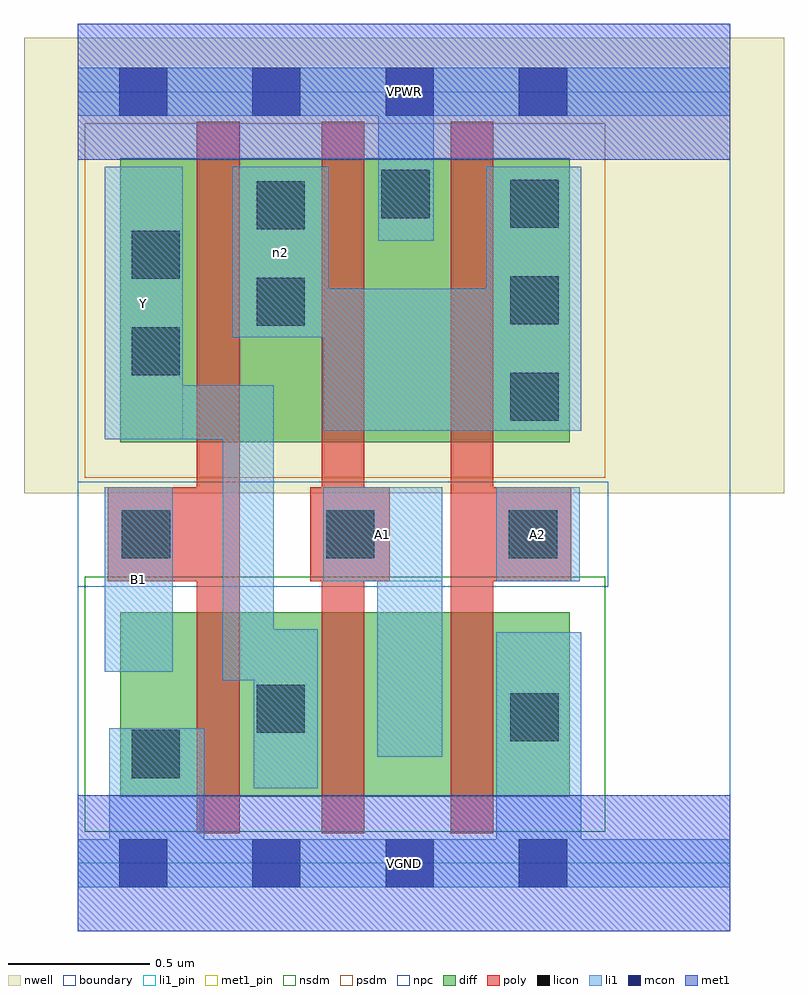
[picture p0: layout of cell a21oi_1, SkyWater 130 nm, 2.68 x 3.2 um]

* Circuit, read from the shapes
.subckt a21oi_1 A1 A2 B1 VGND VPWR Y n2
XM1 Y B1 VGND VSUBS sky130_fd_pr__nfet_01v8 w=0.65 l=0.15
XM2 n1 A1 Y VSUBS sky130_fd_pr__nfet_01v8 w=0.65 l=0.15
XM3 VGND A2 n1 VSUBS sky130_fd_pr__nfet_01v8 w=0.65 l=0.15
XM4 n2 B1 Y n3 sky130_fd_pr__pfet_01v8 w=1 l=0.15
XM5 VPWR A1 n2 n3 sky130_fd_pr__pfet_01v8 w=1 l=0.15
XM6 n2 A2 VPWR n3 sky130_fd_pr__pfet_01v8 w=1 l=0.15
.ends

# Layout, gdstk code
import gdstk
lib = gdstk.Library(unit=1e-6, precision=1e-09)
def R(c, l, rs):  # rectangles x0, y0, x1, y1
    for r in rs: c.add(gdstk.rectangle(r[:2], r[2:], *l))
def A(c, l, x, y, w, h, nx, ny, dx, dy):  # array of equal rectangles
    R(c, l, [(x+i*dx, y+j*dy, x+i*dx+w, y+j*dy+h) for i in range(nx) for j in range(ny)])
nwell = (64, 20)
diff = (65, 20)
poly = (66, 20)
licon = (66, 44)
li1_pin = (67, 16)
li1 = (67, 20)
mcon = (67, 44)
met1_pin = (68, 16)
met1 = (68, 20)
nsdm = (93, 44)
psdm = (94, 20)
npc = (95, 20)
boundary = (235, 4)

a21oi_1 = lib.new_cell('a21oi_1')
R(a21oi_1, nwell, [(-0.19,1.305,2.49,2.91), (0,1.305,2.3,2.91)])
R(a21oi_1, diff, [(0.15,0.235,1.735,0.885), (0.15,1.485,1.735,2.485)])
R(a21oi_1, poly, [(0.42,0.105,0.57,2.615), (0.86,0.105,1.01,2.615), (1.315,0.105,1.465,2.615), (0.105,0.995,0.57,1.325), (0.82,0.995,1.1,1.325), (1.315,0.995,1.74,1.325)])
A(a21oi_1, licon, 1.525, 1.56, 0.17, 0.17, 1, 3, 0, 0.34)
R(a21oi_1, licon, [(0.19,0.3,0.36,0.47), (1.525,0.43,1.695,0.6), (0.63,0.46,0.8,0.63), (0.155,1.075,0.325,1.245), (0.875,1.075,1.045,1.245), (1.52,1.075,1.69,1.245), (0.19,1.72,0.36,1.89), (0.63,1.895,0.8,2.065), (0.19,2.06,0.36,2.23), (0.63,2.235,0.8,2.405), (1.07,2.275,1.24,2.445)])
R(a21oi_1, li1_pin, [(0.095,0.675,0.335,1.325), (0.865,0.995,1.285,1.325), (1.475,0.995,1.77,1.325), (0.095,1.495,0.37,2.455)])
R(a21oi_1, li1, [(0,-0.085,2.3,0.085), (0.11,-0.085,0.445,0.475), (1.475,-0.085,1.775,0.815), (0.62,0.265,0.845,0.825), (1.055,0.375,1.285,1.325), (0.51,0.645,0.69,1.685), (0.095,0.675,0.335,1.325), (0.865,0.995,1.285,1.325), (1.475,0.995,1.77,1.325), (0.095,1.495,0.37,2.455), (0.095,1.495,0.69,1.685), (0.865,1.525,1.775,2.025), (1.44,1.525,1.775,2.455), (0.545,1.855,0.885,2.455), (1.06,2.195,1.255,2.805), (0,2.635,2.3,2.805)])
A(a21oi_1, mcon, 0.145, -0.085, 0.17, 0.17, 4, 2, 0.47, 2.72)
R(a21oi_1, met1_pin, [(0,-0.24,2.3,0.24), (0,2.48,2.3,2.96)])
R(a21oi_1, met1, [(0,-0.24,2.3,0.24), (0,2.48,2.3,2.96)])
R(a21oi_1, nsdm, [(0.025,0.11,1.86,1.01)])
R(a21oi_1, psdm, [(0.025,1.36,1.86,2.61)])
R(a21oi_1, npc, [(0,0.975,1.87,1.345)])
R(a21oi_1, boundary, [(0,0,2.3,2.72)])
a21oi_1.add(gdstk.Label('A1', (1.075,1.16), layer=67, texttype=5))
a21oi_1.add(gdstk.Label('A2', (1.622,1.16), layer=67, texttype=5))
a21oi_1.add(gdstk.Label('B1', (0.215,1), layer=67, texttype=5))
a21oi_1.add(gdstk.Label('Y', (0.232,1.975), layer=67, texttype=5))
a21oi_1.add(gdstk.Label('n2', (0.715,2.155), layer=67, texttype=5))
a21oi_1.add(gdstk.Label('VPWR', (1.15,2.72), layer=68, texttype=5))
a21oi_1.add(gdstk.Label('VGND', (1.15,0), layer=68, texttype=5))
a21oi_1.add(gdstk.Label('A1', (1.075,1.16), layer=67, texttype=16))
a21oi_1.add(gdstk.Label('A2', (1.622,1.16), layer=67, texttype=16))
a21oi_1.add(gdstk.Label('B1', (0.215,1), layer=67, texttype=16))
a21oi_1.add(gdstk.Label('Y', (0.232,1.975), layer=67, texttype=16))
a21oi_1.add(gdstk.Label('VPWR', (1.15,2.72), layer=68, texttype=16))
a21oi_1.add(gdstk.Label('VGND', (1.15,0), layer=68, texttype=16))

lib.write_gds('a21oi_1.gds')
